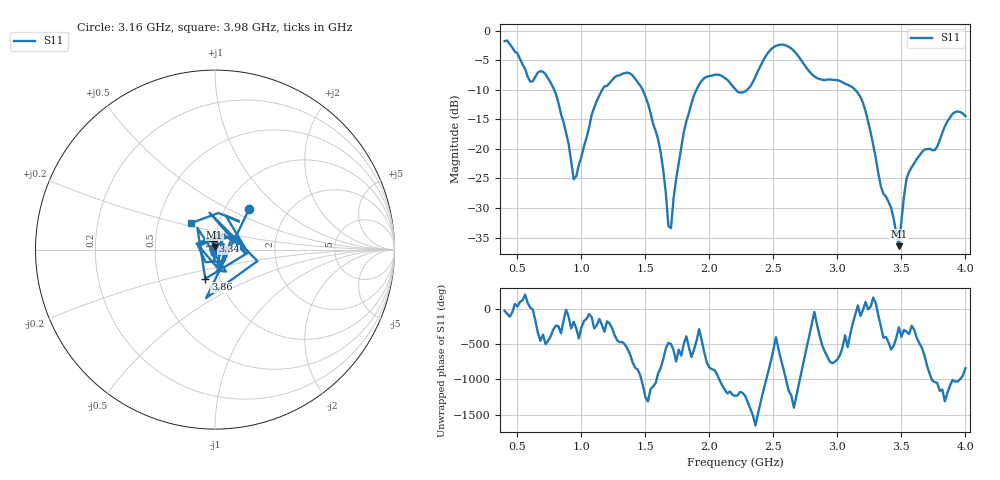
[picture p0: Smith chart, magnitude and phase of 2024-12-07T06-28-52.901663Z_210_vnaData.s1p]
!Created with skrf (http://scikit-rf.org).
# Hz S RI R 50.0
!freq ReS11 ImS11
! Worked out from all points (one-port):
!   181 points, 400 MHz to 4 GHz, reference 50 ohm
!   lowest |S11| = -36.5 dB at 3.48 GHz (marker M1), VSWR 1.03, Z = 49.7 + j1.47 ohm
!   |S11| at or under -10 dB: 787.1 MHz to 1.162 GHz (375.2 MHz wide, 38.5 % of centre); 1.479 GHz to 1.899 GHz (420 MHz wide, 24.9 % of centre); 3.139 GHz to end of sweep (the widest 3 of 4)
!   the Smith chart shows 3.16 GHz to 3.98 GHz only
!   S11 on the Smith chart (normalised r, x): 3.16 GHz: 1.29, +0.64; 3.34 GHz: 0.97, +0.09; 3.86 GHz: 0.85, -0.29; 3.98 GHz: 0.73, +0.23
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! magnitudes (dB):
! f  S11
! 400 MHz  -1.8
! 600 MHz  -8.6
! 720 MHz  -7.4
! 860 MHz  -15.4
! 940 MHz  -25.1
! 1.12 GHz  -11.9
! 1.3 GHz  -7.5
! 1.52 GHz  -12.3
! 1.62 GHz  -20.7
! 1.68 GHz  -33.1
! 1.7 GHz  -33.4
! 1.76 GHz  -22.5
! 1.82 GHz  -15.3
! 1.94 GHz  -8.5
! 2.2 GHz  -9.8
! 2.3 GHz  -9.9
! 2.5 GHz  -2.8
! 2.66 GHz  -3.4
! 2.84 GHz  -8.0
! 3.1 GHz  -9.4
! 3.16 GHz  -10.5
! 3.24 GHz  -15.4
! 3.34 GHz  -26.4
! 3.48 GHz  -36.5
! 3.56 GHz  -23.9
! 3.86 GHz  -15.3
! 3.98 GHz  -14.0
! 4 GHz  -14.5
